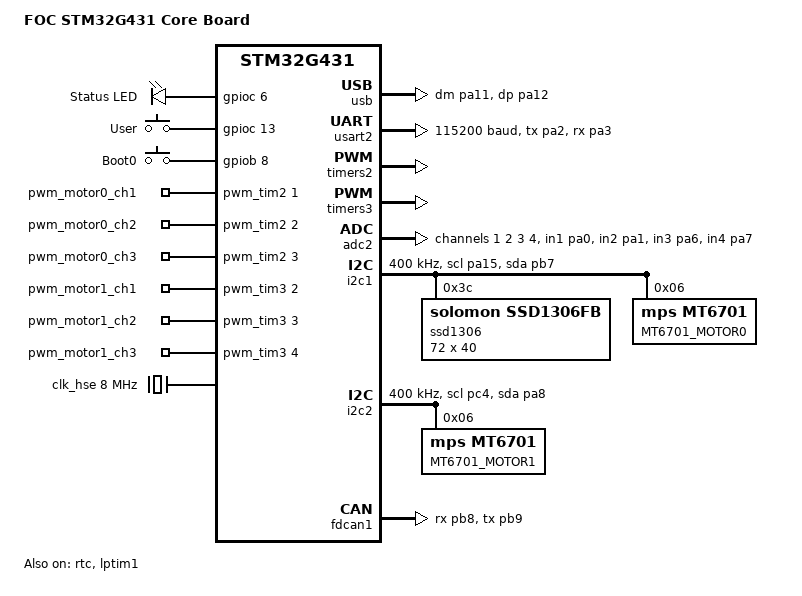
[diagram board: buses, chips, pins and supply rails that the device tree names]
/*
 * Copyright (c) 2023 Andreas Sandberg
 *
 * SPDX-License-Identifier: Apache-2.0
 */

/dts-v1/;
#include <st/g4/stm32g431Xb.dtsi>
#include <st/g4/stm32g431c(6-8-b)ux-pinctrl.dtsi>
#include <zephyr/dt-bindings/usb-c/pd.h>
#include <zephyr/dt-bindings/input/input-event-codes.h>

/ {
	model = "FOC STM32G431 Core Board";
	compatible = "st,stm32g431";

	chosen {
		zephyr,console = &usart2;
		zephyr,shell-uart = &usart2;
		zephyr,sram = &sram0;
		zephyr,flash = &flash0;
	};

	aliases {
		led0 = &led_0;
		mcuboot-button0 = &button_0;
		mcuboot-led0 = &led_0;
		sw0 = &button_0;
		usbc-port0 = &usbc1;
		pwm-motor0 = &pwm_tim2;
		pwm-motor1 = &pwm_tim3;
		encoder-motor0 = &mt6701_motor0;
		encoder-motor1 = &mt6701_motor1;
	};

	leds {
		compatible = "gpio-leds";

		led_0: led0 {
			gpios = <&gpioc 6 GPIO_ACTIVE_HIGH>;
			label = "Status LED";
		};
	};

	gpio_keys {
		compatible = "gpio-keys";

		button_0: button0 {
			label = "User";
			gpios = <&gpioc 13 (GPIO_PULL_DOWN | GPIO_ACTIVE_HIGH)>;
			zephyr,code = <INPUT_KEY_0>;
		};

		button_1: button1 {
			label = "Boot0";
			/* WARNING: PB8 is used as BOOT0 button */
			gpios = <&gpiob 8 GPIO_ACTIVE_HIGH>;
			zephyr,code = <INPUT_KEY_1>;
		};
	};

	vbus1: vbus {
		compatible = "zephyr,usb-c-vbus-adc";
		status = "disabled";
		io-channels = <&adc2 12>;
		output-ohms = <10000>;
		full-ohms = <(100000 + 10000)>;
	};

	ports {
		#address-cells = <1>;
		#size-cells = <0>;

		usbc1: usbc-port@1 {
			compatible = "usb-c-connector";
			status = "disabled";
			reg = <1>;
			tcpc = <&ucpd1>;
			vbus = <&vbus1>;
			data-role = "device";
			power-role = "sink";
			sink-pdos = <PDO_FIXED(5000, 100, PDO_FIXED_USB_COMM)>;
		};
	};
};

/* ========================================================================== */
/* SWD / JTAG pins – Reserved by default (PA13, PA14)                        */
/* PA13 = SWDIO, PA14 = SWCLK - automatically reserved for debugging         */
/* ========================================================================== */

&clk_lsi {
	status = "okay";
};

&clk_lse {
	status = "okay";
};

&clk_hsi {
	status = "disabled";
};

&clk_hse {
	status = "okay";
	clock-frequency = <DT_FREQ_M(8)>;
};

&rcc {
	clocks = <&pll>;
	clock-frequency = <DT_FREQ_M(144)>;
	ahb-prescaler = <1>;
	apb1-prescaler = <1>;
	apb2-prescaler = <1>;
};

&pll {
	status = "okay";
	div-m = <2>;
	mul-n = <72>;
	div-p = <2>;
	div-q = <6>;
	div-r = <2>;
	clocks = <&clk_hse>;
};

&rtc {
	status = "okay";
	clocks = <&rcc STM32_CLOCK(APB1, 10)>,
		 <&rcc STM32_SRC_LSE RTC_SEL(1)>;
};

stm32_lp_tick_source: &lptim1 {
	status = "okay";
	clocks = <&rcc STM32_CLOCK(APB1, 31)>,
		 <&rcc STM32_SRC_LSE LPTIM1_SEL(3)>;
};

&iwdg {
	status = "disabled";
};

&dma1 {
	status = "okay";
};

&dmamux1 {
	status = "okay";
};

&usb {
	status = "okay";
	pinctrl-0 = <&usb_dm_pa11 &usb_dp_pa12>;
	pinctrl-names = "default";

	cdc_acm_uart: cdc_acm_uart {
		compatible = "zephyr,cdc-acm-uart";
	};
};

&ucpd1 {
	psc-ucpdclk = <1>;
	hbitclkdiv = <27>;
	pinctrl-0 = <&ucpd1_cc1_pb6 &ucpd1_cc2_pb4>;
	pinctrl-names = "default";
};

/* ========================================================================== */
/* USART2 on PA2 (TX) + PA3 (RX)                                            */
/* ========================================================================== */
&usart2 {
	status = "okay";
	pinctrl-0 = <&usart2_tx_pa2 &usart2_rx_pa3>;
	pinctrl-names = "default";
	current-speed = <115200>;
};

/* ========================================================================== */
/* Motor 0 – TIM2 high-side only: PA5, PB3, PB10                           */
/* TIM2 configured to trigger ADC2 conversions via TRGO (update event)     */
/* ========================================================================== */
&timers2 {
	status = "okay";
	st,prescaler = <0>;
	st,countermode = <0>;

	pwm_tim2: pwm {
		status = "okay";
		pinctrl-0 = <&tim2_ch1_pa5
		             &tim2_ch2_pb3
		             &tim2_ch3_pb10>;
		pinctrl-names = "default";
		#pwm-cells = <3>;
	};
};

/ {
	pwm_motor0_dev: pwm-motor0-device {
		compatible = "pwm-leds";
		pwm_motor0_ch1: pwm-motor0-ch1 {
			pwms = <&pwm_tim2 1 50000 PWM_POLARITY_NORMAL>;
		};
		pwm_motor0_ch2: pwm-motor0-ch2 {
			pwms = <&pwm_tim2 2 50000 PWM_POLARITY_NORMAL>;
		};
		pwm_motor0_ch3: pwm-motor0-ch3 {
			pwms = <&pwm_tim2 3 50000 PWM_POLARITY_NORMAL>;
		};
	};
};

/* ========================================================================== */
/* Motor 1 – TIM3 high-side only: PA4, PB0, PB1                            */
/* ========================================================================== */
&timers3 {
	status = "okay";

	pwm_tim3: pwm {
		status = "okay";
		pinctrl-0 = <&tim3_ch2_pa4
		             &tim3_ch3_pb0
		             &tim3_ch4_pb1>;
		pinctrl-names = "default";
		#pwm-cells = <3>;
	};
};

/ {
	pwm_motor1_dev: pwm-motor1-device {
		compatible = "pwm-leds";
		pwm_motor1_ch1: pwm-motor1-ch1 {
			pwms = <&pwm_tim3 2 50000 PWM_POLARITY_NORMAL>;
		};
		pwm_motor1_ch2: pwm-motor1-ch2 {
			pwms = <&pwm_tim3 3 50000 PWM_POLARITY_NORMAL>;
		};
		pwm_motor1_ch3: pwm-motor1-ch3 {
			pwms = <&pwm_tim3 4 50000 PWM_POLARITY_NORMAL>;
		};
	};
};

/* ========================================================================== */
/* ADC1 - DISABLED                                                          */
/* ADC2: PA0 (IN1), PA1 (IN2), PA6 (IN3), PA7 (IN4)                        */
/* Triggered by TIM2 TRGO for synchronization with PWM                     */
/* ========================================================================== */
&adc1 {
	status = "disabled";
};

&adc2 {
	status = "okay";
	pinctrl-0 = <&adc2_in1_pa0
	             &adc2_in2_pa1
	             &adc2_in3_pa6
	             &adc2_in4_pa7>;
	pinctrl-names = "default";
	st,adc-clock-source = "SYNC";
	st,adc-prescaler = <4>;
	dmas = <&dmamux1 0 5 (STM32_DMA_PERIPH_RX | STM32_DMA_PRIORITY_VERY_HIGH)>;
	dma-names = "dmamux";

	#address-cells = <1>;
	#size-cells = <0>;

	channel@1 {
		reg = <1>;
		zephyr,gain = "ADC_GAIN_1";
		zephyr,reference = "ADC_REF_INTERNAL";
		zephyr,acquisition-time = <ADC_ACQ_TIME(ADC_ACQ_TIME_TICKS, 48)>;
		zephyr,resolution = <12>;
		zephyr,vref-mv = <3300>;
	};

	channel@2 {
		reg = <2>;
		zephyr,gain = "ADC_GAIN_1";
		zephyr,reference = "ADC_REF_INTERNAL";
		zephyr,acquisition-time = <ADC_ACQ_TIME(ADC_ACQ_TIME_TICKS, 48)>;
		zephyr,resolution = <12>;
		zephyr,vref-mv = <3300>;
	};

	channel@3 {
		reg = <3>;
		zephyr,gain = "ADC_GAIN_1";
		zephyr,reference = "ADC_REF_INTERNAL";
		zephyr,acquisition-time = <ADC_ACQ_TIME(ADC_ACQ_TIME_TICKS, 48)>;
		zephyr,resolution = <12>;
		zephyr,vref-mv = <3300>;
	};

	channel@4 {
		reg = <4>;
		zephyr,gain = "ADC_GAIN_1";
		zephyr,reference = "ADC_REF_INTERNAL";
		zephyr,acquisition-time = <ADC_ACQ_TIME(ADC_ACQ_TIME_TICKS, 48)>;
		zephyr,resolution = <12>;
		zephyr,vref-mv = <3300>;
	};
};

/* ========================================================================== */
/* I2C1 on PA15 (SCL) + PB7 (SDA)                                           */
/* ========================================================================== */
&i2c1 {
	status = "okay";
	pinctrl-0 = <&i2c1_scl_pa15 &i2c1_sda_pb7>;
	pinctrl-names = "default";
	clock-frequency = <I2C_BITRATE_FAST>;

	ssd1306: ssd1306@3c {
		compatible = "solomon,ssd1306fb";
		reg = <0x3c>;
		width = <72>;
		height = <40>;
		segment-offset = <0>;
		page-offset = <0>;
		display-offset = <0>;
		multiplex-ratio = <39>;
		segment-remap;
		com-invdir;
		prechargep = <0x22>;
	};

	mt6701_motor0: mt6701@6 {
		compatible = "mps,mt6701";
		reg = <0x06>;
		label = "MT6701_MOTOR0";
	};
};

/* ========================================================================== */
/* I2C2 on PC4 (SCL) + PA8 (SDA)                                            */
/* ========================================================================== */
&i2c2 {
	status = "okay";
	pinctrl-0 = <&i2c2_scl_pc4 &i2c2_sda_pa8>;
	pinctrl-names = "default";
	clock-frequency = <I2C_BITRATE_FAST>;

	mt6701_motor1: mt6701@6 {
		compatible = "mps,mt6701";
		reg = <0x06>;
		label = "MT6701_MOTOR1";
	};
};

/* ========================================================================== */
/* FDCAN1 on PB8 (RX) + PB9 (TX)                                            */
/* ========================================================================== */
&fdcan1 {
	status = "okay";
	pinctrl-0 = <&fdcan1_rx_pb8 &fdcan1_tx_pb9>;
	pinctrl-names = "default";
	clocks = <&rcc STM32_CLOCK(APB1, 25)>;
	clk-divider = <1>;
	bosch,mram-cfg = <0x0 28 8 18 18 0 8 8>;
};

/* ========================================================================== */
/* Everything else disabled to keep pins free                                */
/* ========================================================================== */
&timers1 { status = "disabled"; };
&timers4 { status = "disabled"; };
&timers8 { status = "disabled"; };
&i2c3   { status = "disabled"; };
&spi1   { status = "disabled"; };
&spi2   { status = "disabled"; };
&spi3   { status = "disabled"; };
